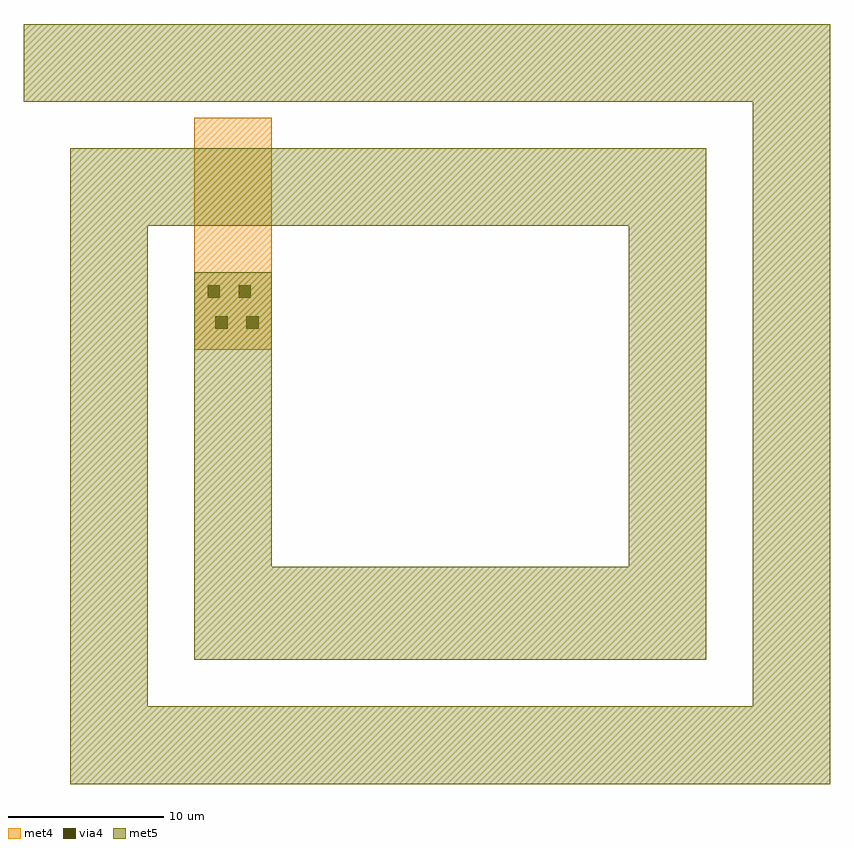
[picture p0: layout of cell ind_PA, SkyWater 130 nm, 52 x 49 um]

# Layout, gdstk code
import gdstk
lib = gdstk.Library(unit=1e-6, precision=1e-09)
def R(c, l, rs):  # rectangles x0, y0, x1, y1
    for r in rs: c.add(gdstk.rectangle(r[:2], r[2:], *l))
met4 = (71, 20)
via4 = (71, 44)
met5 = (72, 20)

ind_pa = lib.new_cell('ind_PA')
R(ind_pa, met4, [(17,-32,22,-17.03)])
R(ind_pa, via4, [(18.35,-30.65,19.15,-29.85), (20.35,-30.65,21.15,-29.85), (17.85,-28.65,18.65,-27.85), (19.85,-28.65,20.65,-27.85)])
R(ind_pa, met5, [(9,-60,58,-55), (9,-55,14,-24), (53,-55,58,-16), (17,-52,50,-46), (17,-46,22,-27), (45,-46,50,-24), (9,-24,50,-19), (6,-16,58,-11)])

lib.write_gds('ind_PA.gds')
